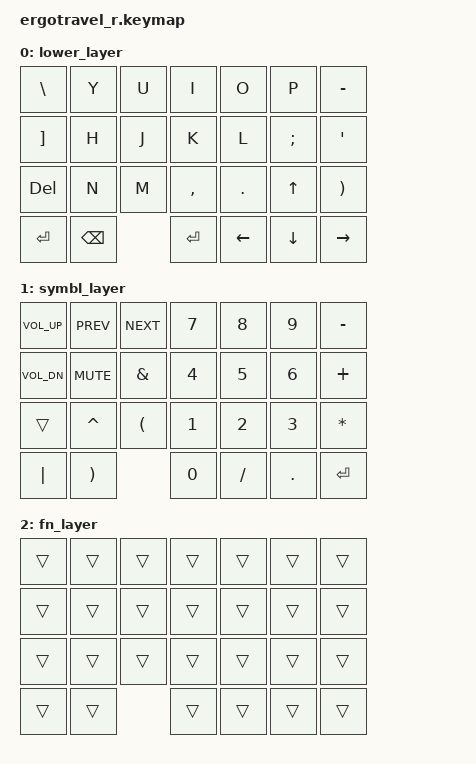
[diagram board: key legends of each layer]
/*
 * Copyright (c) 2020 The ZMK Contributors
 *
 * SPDX-License-Identifier: MIT
 */

#include <behaviors.dtsi>
#include <dt-bindings/zmk/keys.h>
#include <dt-bindings/zmk/bt.h>
#include <dt-bindings/zmk/ext_power.h>

#define LOWER 0
#define SYMBL 1
#define FN_LAYER 2
#define HYPER LS(LC(LGUI))
&lt { tapping_term_ms = <300>; };
&mt { tapping_term_ms = <300>; };
&sl { release-after-ms = <2000>; };

/ {
	keymap {
		compatible = "zmk,keymap";

		lower_layer {
    bindings = <
&kp BSLH    &kp Y    &kp U     &kp I     &kp O    &kp P    &kp MINUS
&kp RBKT    &kp H    &kp J     &kp K     &kp L    &kp SEMI &kp SINGLE_QUOTE
&kp DEL     &kp N    &kp M     &kp COMMA &kp DOT  &kp UP   &kp RPAR
&kp RET     &kp BSPC           &kp RET   &kp LEFT &kp DOWN &kp RIGHT
>;
		};

    symbl_layer {
    bindings = <
&kp C_VOL_UP &kp C_PREV &kp C_NEXT &kp N7 &kp N8   &kp N9  &kp MINUS
&kp C_VOL_DN &kp C_MUTE &kp AMPS   &kp N4 &kp N5   &kp N6  &kp PLUS
&trans       &kp CARET  &kp LPAR   &kp N1 &kp N2   &kp N3  &kp STAR
             &kp PIPE   &kp RPAR   &kp N0 &kp FSLH &kp DOT &kp RET
>;
    		};


  fn_layer {
    bindings = <
&trans  &trans  &trans &trans &trans &trans &trans
&trans  &trans  &trans &trans &trans &trans &trans
&trans  &trans  &trans &trans &trans &trans &trans
        &trans  &trans &trans &trans &trans &trans
>;
        };


	};
};
